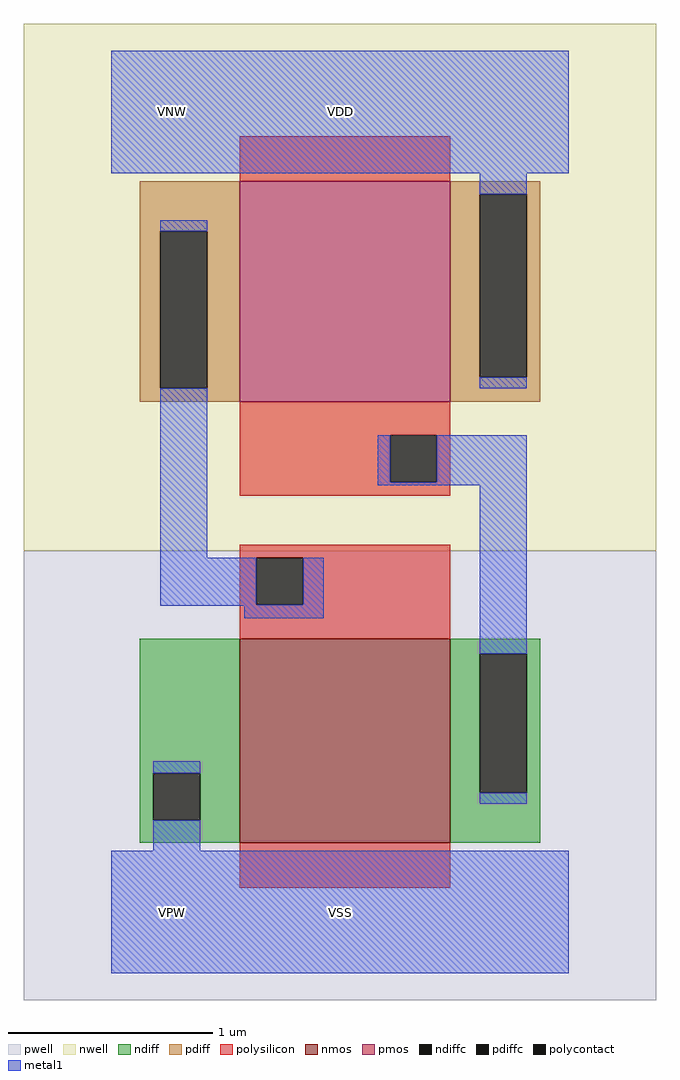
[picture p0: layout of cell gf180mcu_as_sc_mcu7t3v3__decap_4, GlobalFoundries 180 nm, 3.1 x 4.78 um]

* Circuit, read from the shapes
.subckt gf180mcu_as_sc_mcu7t3v3__decap_4 VDD VNW VPW VSS
XM1 n1 n2 VSS VPW nfet_03v3 w=1u l=1.03u
XM2 VDD n1 n2 VNW pfet_03v3 w=1.08u l=1.03u
.ends

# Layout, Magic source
magic
tech gf180mcuD
magscale 1 10
<< nwell >>
rect -86 354 534 870
<< pwell >>
rect -86 -86 534 354
<< nmos >>
rect 126 68 332 268
<< pmos >>
rect 126 500 332 716
<< ndiff >>
rect 28 136 126 268
rect 28 90 41 136
rect 87 90 126 136
rect 28 68 126 90
rect 332 253 420 268
rect 332 117 361 253
rect 407 117 420 253
rect 332 68 420 117
<< pdiff >>
rect 28 667 126 716
rect 28 513 48 667
rect 94 513 126 667
rect 28 500 126 513
rect 332 703 420 716
rect 332 524 361 703
rect 407 524 420 703
rect 332 500 420 524
<< ndiffc >>
rect 41 90 87 136
rect 361 117 407 253
<< pdiffc >>
rect 48 513 94 667
rect 361 524 407 703
<< polysilicon >>
rect 126 716 332 760
rect 126 467 332 500
rect 126 421 273 467
rect 319 421 332 467
rect 126 408 332 421
rect 126 347 332 360
rect 126 301 142 347
rect 188 301 332 347
rect 126 268 332 301
rect 126 24 332 68
<< polycontact >>
rect 273 421 319 467
rect 142 301 188 347
<< metal1 >>
rect 0 724 448 844
rect 361 703 407 724
rect 48 667 94 678
rect 361 513 407 524
rect 48 347 94 513
rect 261 421 273 467
rect 319 421 407 467
rect 261 418 407 421
rect 48 301 142 347
rect 188 301 208 347
rect 48 300 208 301
rect 130 288 208 300
rect 361 253 407 418
rect 41 136 87 148
rect 361 106 407 117
rect 41 60 87 90
rect 0 -60 448 60
<< labels >>
flabel metal1 s 0 724 448 844 0 FreeSans 400 0 0 0 VDD
port 1 nsew power bidirectional abutment
flabel metal1 s 0 -60 448 60 0 FreeSans 400 0 0 0 VSS
port 4 nsew ground bidirectional abutment
flabel nwell s 10 734 110 834 0 FreeSans 400 0 0 0 VNW
port 2 nsew power bidirectional
flabel pwell s 10 -50 110 50 0 FreeSans 400 0 0 0 VPW
port 3 nsew ground bidirectional
<< properties >>
string FIXED_BBOX 0 0 448 784
string LEFclass CORE SPACER
string LEFsite unithd
string LEFsymmetry X Y
string MASKHINTS_NPLUS -86 -86 534 354
string MASKHINTS_PPLUS -86 354 534 870
<< end >>
